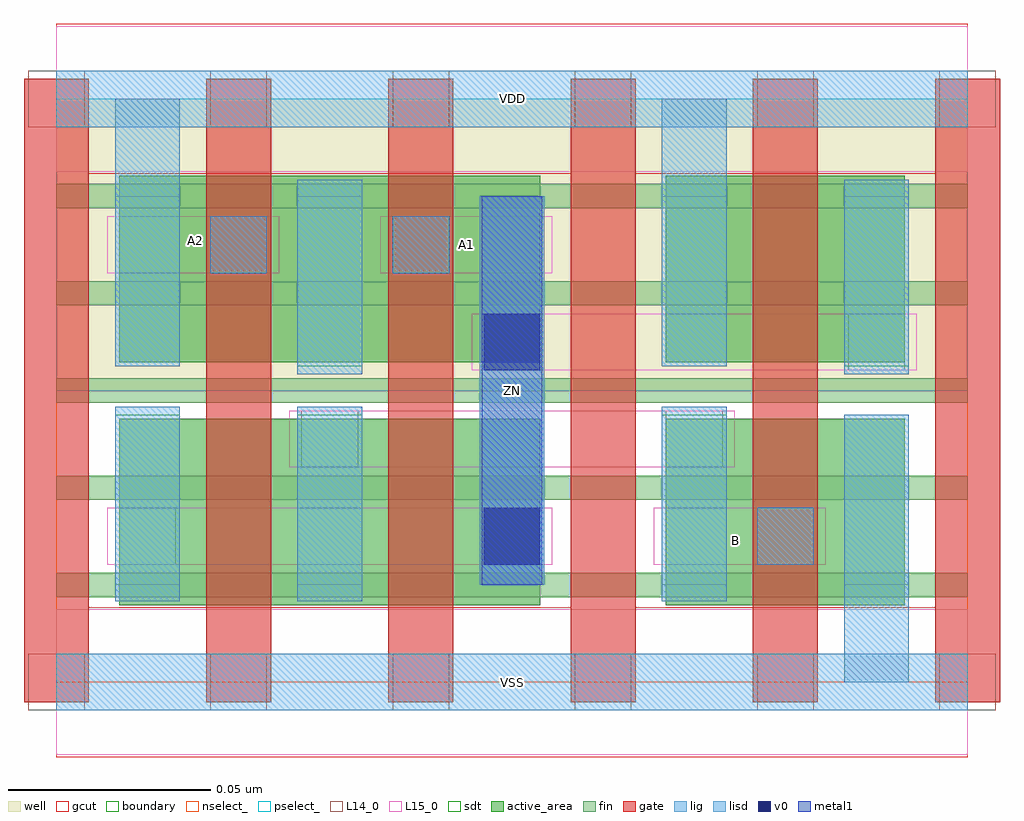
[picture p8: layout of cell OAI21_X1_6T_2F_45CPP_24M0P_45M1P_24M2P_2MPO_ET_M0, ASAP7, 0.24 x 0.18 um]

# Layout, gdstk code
import gdstk
lib = gdstk.Library(unit=1e-6, precision=2.5e-10)
def R(c, l, rs):  # rectangles x0, y0, x1, y1
    for r in rs: c.add(gdstk.rectangle(r[:2], r[2:], *l))
def A(c, l, x, y, w, h, nx, ny, dx, dy):  # array of equal rectangles
    R(c, l, [(x+i*dx, y+j*dy, x+i*dx+w, y+j*dy+h) for i in range(nx) for j in range(ny)])
well = (1, 0)
fin = (2, 0)
gate = (7, 0)
gcut = (10, 0)
active_area = (11, 0)
nselect_ = (12, 0)
pselect_ = (13, 0)
L14_0 = (14, 0)
L15_0 = (15, 0)
lig = (16, 0)
lisd = (17, 0)
v0 = (18, 0)
metal1 = (19, 0)
sdt = (88, 0)
boundary = (100, 0)

oai21_x1_6t_2f_45cpp_24m = lib.new_cell('OAI21_X1_6T_2F_45CPP_24M0P_45M1P_24M2P_2MPO_ET_M0')
R(oai21_x1_6t_2f_45cpp_24m, well, [(0,0.072,0.225,0.144)])
A(oai21_x1_6t_2f_45cpp_24m, fin, 0, 0.021, 0.225, 0.006, 1, 5, 0, 0.024)
A(oai21_x1_6t_2f_45cpp_24m, gate, -0.008, -0.005, 0.016, 0.154, 6, 1, 0.045, 0)
R(oai21_x1_6t_2f_45cpp_24m, gcut, [(0,-0.0185,0.225,0.0185), (-0.008,-0.005,0.008,0.149), (0.127,-0.005,0.143,0.149), (0.217,-0.005,0.233,0.149), (0,0.1255,0.225,0.1625)])
R(oai21_x1_6t_2f_45cpp_24m, active_area, [(0.0155,0.019,0.0745,0.065), (0.0605,0.019,0.1195,0.065), (0.1505,0.019,0.2095,0.065), (0.0155,0.079,0.0745,0.125), (0.0605,0.079,0.1195,0.125), (0.1505,0.079,0.2095,0.125)])
R(oai21_x1_6t_2f_45cpp_24m, nselect_, [(0,0,0.225,0.072)])
R(oai21_x1_6t_2f_45cpp_24m, pselect_, [(0,0.072,0.225,0.144)])
A(oai21_x1_6t_2f_45cpp_24m, L14_0, -0.007, -0.007, 0.014, 0.014, 6, 2, 0.045, 0.144)
R(oai21_x1_6t_2f_45cpp_24m, L14_0, [(0.0155,0.029,0.0295,0.043), (0.1055,0.029,0.1195,0.043), (0.173,0.029,0.187,0.043), (0.0605,0.053,0.0745,0.067), (0.1505,0.053,0.1645,0.067), (0.1955,0.077,0.2095,0.091), (0.038,0.101,0.052,0.115), (0.083,0.101,0.097,0.115)])
R(oai21_x1_6t_2f_45cpp_24m, L15_0, [(0,-0.018,0.225,0.018), (0.0125,0.029,0.1225,0.043), (0.1475,0.029,0.19,0.043), (0.0575,0.053,0.1675,0.067), (0.1025,0.077,0.2125,0.091), (0.0125,0.101,0.055,0.115), (0.08,0.101,0.1225,0.115), (0,0.126,0.225,0.162)])
R(oai21_x1_6t_2f_45cpp_24m, lig, [(0,-0.007,0.225,0.007), (0.173,0.029,0.187,0.043), (0.038,0.101,0.052,0.115), (0.083,0.101,0.097,0.115), (0,0.137,0.225,0.151)])
R(oai21_x1_6t_2f_45cpp_24m, lisd, [(0.1945,0,0.2105,0.066), (0.0145,0.02,0.0305,0.068), (0.0595,0.02,0.0755,0.068), (0.1495,0.02,0.1655,0.068), (0.1045,0.024,0.1205,0.12), (0.0595,0.076,0.0755,0.124), (0.1945,0.076,0.2105,0.124), (0.0145,0.078,0.0305,0.144), (0.1495,0.078,0.1655,0.144)])
R(oai21_x1_6t_2f_45cpp_24m, v0, [(0.1055,0.029,0.1195,0.043), (0.1055,0.077,0.1195,0.091)])
R(oai21_x1_6t_2f_45cpp_24m, metal1, [(0.105,0.024,0.12,0.12)])
R(oai21_x1_6t_2f_45cpp_24m, sdt, [(0.0145,0.024,0.0305,0.066), (0.0595,0.024,0.0755,0.066), (0.1045,0.024,0.1205,0.12), (0.1495,0.024,0.1655,0.066), (0.1945,0.024,0.2105,0.066), (0.0145,0.078,0.0305,0.12), (0.0595,0.078,0.0755,0.12), (0.1495,0.078,0.1655,0.12), (0.1945,0.078,0.2105,0.12)])
R(oai21_x1_6t_2f_45cpp_24m, boundary, [(0,0,0.225,0.144)])
oai21_x1_6t_2f_45cpp_24m.add(gdstk.Label('B', (0.1678,0.035), layer=15, texttype=251))
oai21_x1_6t_2f_45cpp_24m.add(gdstk.Label('A2', (0.0343,0.109), layer=15, texttype=251))
oai21_x1_6t_2f_45cpp_24m.add(gdstk.Label('A1', (0.1013,0.108), layer=15, texttype=251))
oai21_x1_6t_2f_45cpp_24m.add(gdstk.Label('VDD', (0.1125,0.144), layer=15, texttype=251))
oai21_x1_6t_2f_45cpp_24m.add(gdstk.Label('VSS', (0.1125,0), layer=15, texttype=251))
oai21_x1_6t_2f_45cpp_24m.add(gdstk.Label('VDD', (0.1125,0.144), layer=1, texttype=251))
oai21_x1_6t_2f_45cpp_24m.add(gdstk.Label('VSS', (0.1125,0), layer=3, texttype=251))
oai21_x1_6t_2f_45cpp_24m.add(gdstk.Label('ZN', (0.1125,0.072), layer=19, texttype=251))

lib.write_gds('OAI21_X1_6T_2F_45CPP_24M0P_45M1P_24M2P_2MPO_ET_M0.gds')
